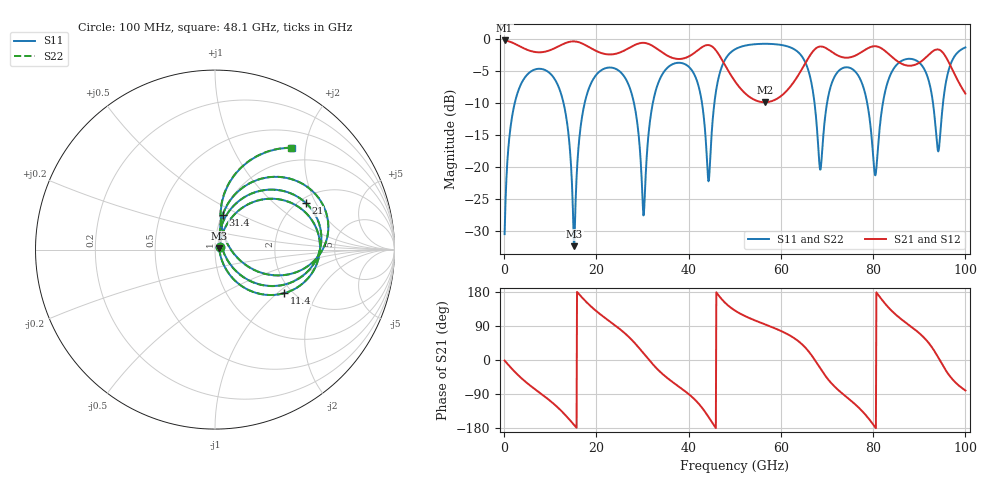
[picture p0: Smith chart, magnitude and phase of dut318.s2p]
! Touchstone file exported from HFSS 2026.1.0
!  File:  C:/ffzhzh/LocalFiles/Ansys_Project_Files/temp_train_TSV_RDL_318_1783701209_45164.aedt
!  Generated:  12:42:47 AM Jul 11, 2026
!  Design:  TSV_RDL
!  Project:  temp_train_TSV_RDL_318_1783701209_45164
! Variables:
!  h_bsmrdl = 3.67um
!  h_ox = 20um
!  h_rdl = 5um
!  h_sub = 91.55um
!  h_tmrdl = 2.24um
!  h_tsv = 91.55um
!  h_via = 3um
!  l_bsmrdl = 245.09um
!  l_sub = 3508.15um
!  l_tmrdl = 566.76um
!  m_sub = 200um
!  pitch = 60um
!  r_tsv = 13.31um
!  s_tmrdl = 10um
!  w_bsmrdl = 17.87um
!  w_sub = 500um
!  w_tmrdl = 17.41um
!  x_tsv_center1 = 575.465um
!  x_tsv_center2 = 838.425um
!  x_tsv_center3 = 1422.595um
!  x_tsv_center4 = 1685.555um
!  x_tsv_center5 = 2269.725um
!  x_tsv_center6 = 2532.685um
# GHz S MA R 50.000000
! Terminal data exported
! Port[1] = TM_RDL1_1_T1
! Port[2] = TM_RDL5_1_T1
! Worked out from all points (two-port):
!   1000 points, 100 MHz to 100 GHz, reference 50 ohm
!   highest |S21| = -0.22 dB at 100 MHz (marker M1); lowest = -9.9 dB at 56.5 GHz (marker M2)
!   |S21| within 3 dB of the highest: start of sweep to 47.21 GHz; 65.75 GHz to 84.79 GHz (19.04 GHz wide, 25.3 % of centre) (the widest 2 of 3)
!   lowest |S11| = -32.4 dB at 15.2 GHz (marker M3), VSWR 1.05, Z = 52.3 + j0.739 ohm
!   |S11| at or under -10 dB: 12.87 GHz to 17.46 GHz (4.588 GHz wide, 30.3 % of centre); 28.14 GHz to 32.24 GHz (4.094 GHz wide, 13.6 % of centre); 78.71 GHz to 82.11 GHz (3.404 GHz wide, 4.23 % of centre) (the widest 3 of 7)
!   |S22| runs from -32.3 to -0.7 dB; largest |S21 - S12| = 3.6e-13
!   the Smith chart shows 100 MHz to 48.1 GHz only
!   S11 on the Smith chart (normalised r, x): 100 MHz: 1.05, +0.03; 11.4 GHz: 1.81, -1.11; 21 GHz: 2.16, +1.67; 31.4 GHz: 1.01, +0.40; 48.1 GHz: 0.76, +1.75
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0.1  0.02981 31.2  0.9748 -1.5  0.9748 -1.5  0.02981 31.2
! Gamma 0 0 0 0
! Port Impedance 50 0 50 0
3.3  0.4151 43.1  0.8812 -43.0  0.8812 -43.0  0.4151 43.1
11.4  0.455 -32.3  0.8631 -122.7  0.8631 -122.7  0.4549 -32.3
15.2  0.024 17.1  0.9583 -171.9  0.9583 -171.9  0.02425 17.1
16.8  0.2352 69.4  0.9268 166.1  0.9268 166.1  0.2353 69.3
21  0.5686 27.3  0.7783 119.1  0.7783 119.1  0.5687 27.3
27.3  0.4093 -29.3  0.8597 57.6  0.8597 57.6  0.4094 -29.4
30.2  0.04172 9.3  0.9341 17.9  0.9341 17.9  0.04064 8.9
31.4  0.1955 77.3  0.9133 0.3  0.9133 0.3  0.1951 77.6
33.4  0.4526 58.9  0.8257 -26.2  0.8257 -26.2  0.4524 59.0
40.9  0.5549 -6.6  0.7636 -99.3  0.7636 -99.3  0.5548 -6.6
44.3  0.0772 23.7  0.8973 -150.2  0.8973 -150.2  0.076 23.6
48.1  0.71 53.0  0.606 148.8  0.606 148.8  0.7098 53.2
50.1  0.8331 36.3  0.4638 130.0  0.4638 130.0  0.833 36.4
56.5  0.9178 3.7  0.3203 94.2  0.3203 94.2  0.9177 3.8
66.7  0.4385 -66.1  0.7799 11.6  0.7799 11.6  0.4391 -65.7
68.6  0.09559 -13.4  0.8748 -23.4  0.8748 -23.4  0.09885 -13.7
74.9  0.596 -13.8  0.7181 -104.5  0.7181 -104.5  0.596 -14.0
80.4  0.08632 -5.2  0.8787 -176.5  0.8787 -176.5  0.08239 -5.7
83.4  0.4894 39.2  0.7616 137.6  0.7616 137.6  0.4888 39.7
94  0.1358 -7.5  0.8299 9.0  0.8299 9.0  0.1389 -6.9
100  0.8594 4.7  0.3746 -80.4  0.3746 -80.4  0.8596 4.8
